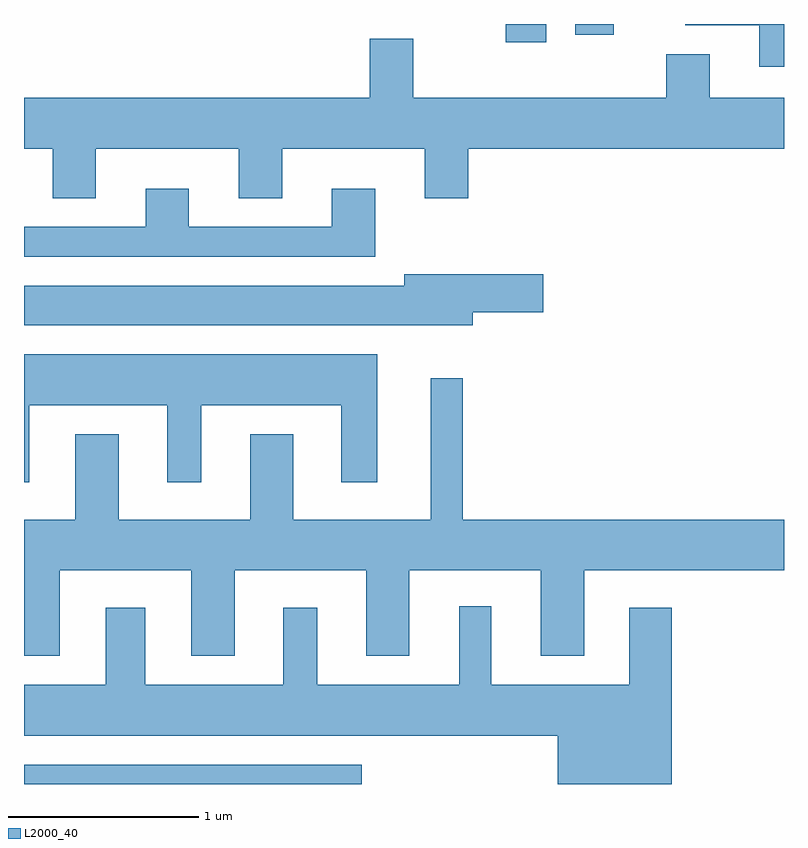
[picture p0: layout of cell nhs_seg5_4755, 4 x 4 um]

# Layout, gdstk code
import gdstk
lib = gdstk.Library(unit=1e-6, precision=1e-09)
def R(c, l, rs):  # rectangles x0, y0, x1, y1
    for r in rs: c.add(gdstk.rectangle(r[:2], r[2:], *l))
def P(c, l, *ps):  # polygons
    for p in ps: c.add(gdstk.Polygon(p, *l))
L2000_40 = (2000, 40)

nhs_seg5_4755 = lib.new_cell('nhs_seg5_4755')
R(nhs_seg5_4755, L2000_40, [(325.611,1500.072,327.389,1500.174), (328.146,1503.976,328.359,1504.072), (328.511,1504.016,328.714,1504.072)])
P(nhs_seg5_4755, L2000_40, [(329.611,1504.072),(329.091,1504.072),(329.091,1504.066),(329.481,1504.066),(329.481,1503.846),(329.611,1503.846)],
  [(325.989,1503.416),(326.741,1503.416),(326.741,1503.156),(326.969,1503.156),(326.969,1503.416),(327.721,1503.416),(327.721,1503.156),(327.949,1503.156),(327.949,1503.416),(329.611,1503.416),(329.611,1503.684),(329.219,1503.684),(329.219,1503.914),(328.991,1503.914),(328.991,1503.684),(327.659,1503.684),(327.659,1503.994),(327.431,1503.994),(327.431,1503.684),(325.611,1503.684),(325.611,1503.416),(325.761,1503.416),(325.761,1503.156),(325.989,1503.156)],
  [(327.459,1503.204),(327.231,1503.204),(327.231,1503.004),(326.479,1503.004),(326.479,1503.204),(326.251,1503.204),(326.251,1503.004),(325.611,1503.004),(325.611,1502.846),(327.459,1502.846)],
  [(327.974,1502.556),(328.344,1502.556),(328.344,1502.754),(327.611,1502.754),(327.611,1502.694),(325.611,1502.694),(325.611,1502.486),(327.974,1502.486)],
  [(325.639,1502.066),(326.366,1502.066),(326.366,1501.661),(326.544,1501.661),(326.544,1502.066),(327.281,1502.066),(327.281,1501.661),(327.469,1501.661),(327.469,1502.334),(325.611,1502.334),(325.611,1501.661),(325.639,1501.661)],
  [(325.799,1501.196),(326.491,1501.196),(326.491,1500.746),(326.719,1500.746),(326.719,1501.196),(327.411,1501.196),(327.411,1500.746),(327.639,1500.746),(327.639,1501.196),(328.331,1501.196),(328.331,1500.746),(328.559,1500.746),(328.559,1501.196),(329.611,1501.196),(329.611,1501.464),(327.919,1501.464),(327.919,1502.208),(327.751,1502.208),(327.751,1501.464),(327.029,1501.464),(327.029,1501.914),(326.801,1501.914),(326.801,1501.464),(326.109,1501.464),(326.109,1501.914),(325.881,1501.914),(325.881,1501.464),(325.611,1501.464),(325.611,1500.746),(325.799,1500.746)],
  [(329.019,1500.999),(328.796,1500.999),(328.796,1500.594),(328.069,1500.594),(328.069,1501.008),(327.901,1501.008),(327.901,1500.594),(327.154,1500.594),(327.154,1500.999),(326.976,1500.999),(326.976,1500.594),(326.249,1500.594),(326.249,1500.999),(326.041,1500.999),(326.041,1500.594),(325.611,1500.594),(325.611,1500.326),(328.421,1500.326),(328.421,1500.072),(329.019,1500.072)])

lib.write_gds('nhs_seg5_4755.gds')
